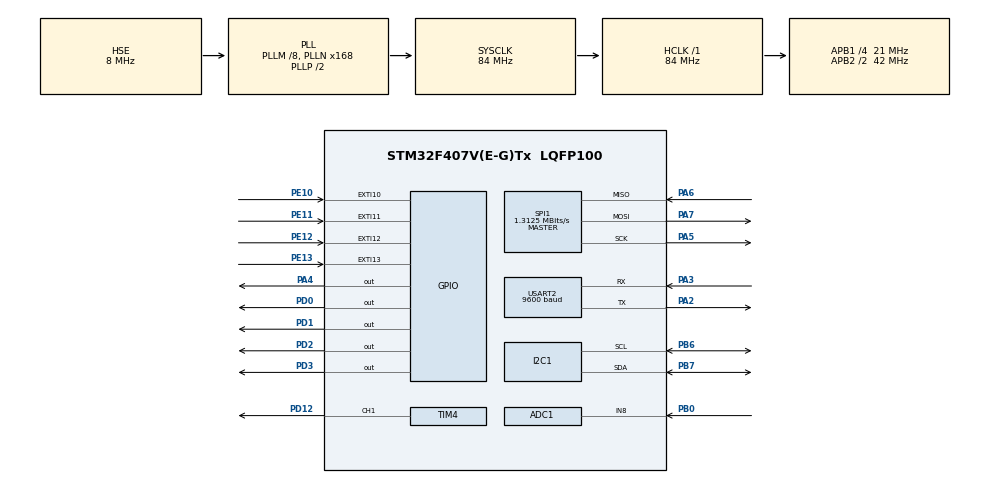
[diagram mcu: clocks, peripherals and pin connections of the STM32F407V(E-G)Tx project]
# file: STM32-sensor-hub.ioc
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ADC1.Channel-0\#ChannelRegularConversion=ADC_CHANNEL_8
ADC1.NbrOfConversionFlag=1
ADC1.master=1
FREERTOS.Mutexes01=xI2CMutex,Dynamic,NULL,Available
FREERTOS.Queues01=dataQueue,10,uint8_t,0,Dynamic,NULL,NULL;printQueue,10,size_t,0,Dynamic,NULL,NULL
FREERTOS.Tasks01=LED_task,24,250,LEDRegulateTask,As weak,NULL,Dynamic,NULL,NULL;light_task,24,250,lightMeasureTask,As external,NULL,Dynamic,NULL,NULL;menu_task,24,250,menuTask,As external,NULL,Dynamic,NULL,NULL;cmd_task,24,250,cmdHandlerTask,As external,NULL,Dynamic,NULL,NULL;print_task,24,250,printTask,As external,NULL,Dynamic,NULL,NULL;temp_task,24,250,temperatureMeasureTask,As external,NULL,Dynamic,NULL,NULL;hum_task,24,250,humidityMeasureTask,As external,NULL,Dynamic,NULL,NULL;pressure_task,24,250,pressureMeasureTask,As external,NULL,Dynamic,NULL,NULL
Mcu.Family=STM32F4
Mcu.Name=STM32F407V(E-G)Tx
Mcu.Package=LQFP100
NVIC.ADC_IRQn=true\:6\:0\:true\:false\:true\:true\:true\:true\:true
NVIC.EXTI15_10_IRQn=true\:6\:0\:true\:false\:true\:true\:true\:true\:true
NVIC.I2C1_EV_IRQn=true\:6\:0\:true\:false\:true\:true\:true\:true\:true
NVIC.PriorityGroup=NVIC_PRIORITYGROUP_4
NVIC.SPI1_IRQn=true\:6\:0\:true\:false\:true\:true\:true\:true\:true
NVIC.TIM6_DAC_IRQn=true\:15\:0\:false\:false\:true\:false\:false\:true\:true
NVIC.TimeBase=TIM6_DAC_IRQn
NVIC.TimeBaseIP=TIM6
NVIC.USART2_IRQn=true\:6\:0\:true\:false\:true\:true\:true\:true\:true
PA13.GPIO_Label=SWDIO
PA13.Mode=Trace_Asynchronous_SW
PA13.Signal=SYS_JTMS-SWDIO
PA14.GPIO_Label=SWCLK
PA14.Mode=Trace_Asynchronous_SW
PA14.Signal=SYS_JTCK-SWCLK
PA2.Mode=Asynchronous
PA2.Signal=USART2_TX
PA3.Mode=Asynchronous
PA3.Signal=USART2_RX
PA4.Signal=GPIO_Output
PA5.Mode=Full_Duplex_Master
PA5.Signal=SPI1_SCK
PA6.Mode=Full_Duplex_Master
PA6.Signal=SPI1_MISO
PA7.Mode=Full_Duplex_Master
PA7.Signal=SPI1_MOSI
PB0.Signal=ADCx_IN8
PB3.Mode=Trace_Asynchronous_SW
PB3.Signal=SYS_JTDO-SWO
PB6.Mode=I2C
PB6.Signal=I2C1_SCL
PB7.Mode=I2C
PB7.Signal=I2C1_SDA
PD0.PinState=GPIO_PIN_SET
PD0.Signal=GPIO_Output
PD1.PinState=GPIO_PIN_SET
PD1.Signal=GPIO_Output
PD12.Signal=S_TIM4_CH1
PD2.PinState=GPIO_PIN_SET
PD2.Signal=GPIO_Output
PD3.PinState=GPIO_PIN_SET
PD3.Signal=GPIO_Output
PE10.GPIO_PuPd=GPIO_PULLDOWN
PE10.Signal=GPXTI10
PE11.GPIO_PuPd=GPIO_PULLDOWN
PE11.Signal=GPXTI11
PE12.GPIO_PuPd=GPIO_PULLDOWN
PE12.Signal=GPXTI12
PE13.GPIO_PuPd=GPIO_PULLDOWN
PE13.Signal=GPXTI13
PH0-OSC_IN.GPIO_Label=PH0-OSC_IN
PH0-OSC_IN.Mode=HSE-External-Oscillator
PH0-OSC_IN.Signal=RCC_OSC_IN
PH1-OSC_OUT.Mode=HSE-External-Oscillator
PH1-OSC_OUT.Signal=RCC_OSC_OUT
ProjectManager.HeapSize=0x200
ProjectManager.StackSize=0x400
ProjectManager.TargetToolchain=STM32CubeIDE
RCC.48MHZClocksFreq_Value=24000000
RCC.AHBFreq_Value=84000000
RCC.APB1CLKDivider=RCC_HCLK_DIV4
RCC.APB1Freq_Value=21000000
RCC.APB1TimFreq_Value=42000000
RCC.APB2CLKDivider=RCC_HCLK_DIV2
RCC.APB2Freq_Value=42000000
RCC.APB2TimFreq_Value=84000000
RCC.CortexFreq_Value=84000000
RCC.HCLKFreq_Value=84000000
RCC.HSE_VALUE=8000000
RCC.HSI_VALUE=16000000
RCC.LSE_VALUE=32768
RCC.PLLM=8
RCC.PLLN=168
RCC.PLLQ=7
RCC.PLLSourceVirtual=RCC_PLLSOURCE_HSE
RCC.SYSCLKFreq_VALUE=84000000
RCC.SYSCLKSource=RCC_SYSCLKSOURCE_PLLCLK
RCC.VCOOutputFreq_Value=168000000
SH.ADCx_IN8.0=ADC1_IN8,IN8
SH.S_TIM4_CH1.0=TIM4_CH1,PWM Generation1 CH1
SPI1.BaudRatePrescaler=SPI_BAUDRATEPRESCALER_32
SPI1.CLKPhase=SPI_PHASE_2EDGE
SPI1.CLKPolarity=SPI_POLARITY_HIGH
SPI1.CalculateBaudRate=1.3125 MBits/s
SPI1.Direction=SPI_DIRECTION_2LINES
SPI1.Mode=SPI_MODE_MASTER
SPI1.VirtualType=VM_MASTER
TIM4.Channel-PWM\ Generation1\ CH1=TIM_CHANNEL_1
USART2.BaudRate=9600
USART2.VirtualMode=VM_ASYNC
VP_FREERTOS_VS_CMSIS_V2.Mode=CMSIS_V2
VP_SYS_VS_tim6.Mode=TIM6
VP_TIM4_VS_ClockSourceINT.Mode=Internal
board=STM32F407G-DISC1

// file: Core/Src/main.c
/* USER CODE BEGIN Header */
/**
  ******************************************************************************
  * @file           : main.c
  * @brief          : Main program body
  ******************************************************************************
  * @attention
  *
  * Copyright (c) 2024 STMicroelectronics.
  * All rights reserved.
  *
  * This software is licensed under terms that can be found in the LICENSE file
  * in the root directory of this software component.
  * If no LICENSE file comes with this software, it is provided AS-IS.
  *
  ******************************************************************************
  */
/* USER CODE END Header */
#include "main.h"
#include "cmsis_os.h"

/* USER CODE BEGIN Includes */
#include <stdio.h>

/* USER CODE END Includes */

ADC_HandleTypeDef hadc1;

I2C_HandleTypeDef hi2c1;

SPI_HandleTypeDef hspi1;

TIM_HandleTypeDef htim4;

UART_HandleTypeDef huart2;

/* Definitions for LED_task */
osThreadId_t LED_taskHandle;
const osThreadAttr_t LED_task_attributes = {
  .name = "LED_task",
  .stack_size = 250 * 4,
  .priority = (osPriority_t) osPriorityNormal,
};
/* Definitions for light_task */
osThreadId_t light_taskHandle;
const osThreadAttr_t light_task_attributes = {
  .name = "light_task",
  .stack_size = 250 * 4,
  .priority = (osPriority_t) osPriorityNormal,
};
/* Definitions for menu_task */
osThreadId_t menu_taskHandle;
const osThreadAttr_t menu_task_attributes = {
  .name = "menu_task",
  .stack_size = 250 * 4,
  .priority = (osPriority_t) osPriorityNormal,
};
/* Definitions for cmd_task */
osThreadId_t cmd_taskHandle;
const osThreadAttr_t cmd_task_attributes = {
  .name = "cmd_task",
  .stack_size = 250 * 4,
  .priority = (osPriority_t) osPriorityNormal,
};
/* Definitions for print_task */
osThreadId_t print_taskHandle;
const osThreadAttr_t print_task_attributes = {
  .name = "print_task",
  .stack_size = 250 * 4,
  .priority = (osPriority_t) osPriorityNormal,
};
/* Definitions for temp_task */
osThreadId_t temp_taskHandle;
const osThreadAttr_t temp_task_attributes = {
  .name = "temp_task",
  .stack_size = 250 * 4,
  .priority = (osPriority_t) osPriorityNormal,
};
/* Definitions for hum_task */
osThreadId_t hum_taskHandle;
const osThreadAttr_t hum_task_attributes = {
  .name = "hum_task",
  .stack_size = 250 * 4,
  .priority = (osPriority_t) osPriorityNormal,
};
/* Definitions for pressure_task */
osThreadId_t pressure_taskHandle;
const osThreadAttr_t pressure_task_attributes = {
  .name = "pressure_task",
  .stack_size = 250 * 4,
  .priority = (osPriority_t) osPriorityNormal,
};
/* Definitions for dataQueue */
osMessageQueueId_t dataQueueHandle;
const osMessageQueueAttr_t dataQueue_attributes = {
  .name = "dataQueue"
};
/* Definitions for printQueue */
osMessageQueueId_t printQueueHandle;
const osMessageQueueAttr_t printQueue_attributes = {
  .name = "printQueue"
};
/* Definitions for xI2CMutex */
osMutexId_t xI2CMutexHandle;
const osMutexAttr_t xI2CMutex_attributes = {
  .name = "xI2CMutex"
};
/* USER CODE BEGIN PV */
volatile uint8_t user_data = 0;

/* Keypad handling */
uint8_t keypad[4][4] = {
        {'1', '2', '3', 'A'},
        {'4', '5', '6', 'B'},
        {'7', '8', '9', 'C'},
        {'*', '0', '#', 'D'}
};
uint32_t previousMillis = 0;
uint32_t currentMillis = 0;

/* USER CODE END PV */

void SystemClock_Config(void);
static void MX_GPIO_Init(void);
static void MX_TIM4_Init(void);
static void MX_ADC1_Init(void);
static void MX_USART2_UART_Init(void);
static void MX_I2C1_Init(void);
static void MX_SPI1_Init(void);
void LEDRegulateTask(void *argument);
extern void lightMeasureTask(void *argument);
extern void menuTask(void *argument);
extern void cmdHandlerTask(void *argument);
extern void printTask(void *argument);
extern void temperatureMeasureTask(void *argument);
extern void humidityMeasureTask(void *argument);
extern void pressureMeasureTask(void *argument);

/* USER CODE BEGIN PFP */
extern void pressureSensorInit();
static void process_user_input(volatile uint8_t *inputCommand);

/* USER CODE END PFP */

int main(void)
{

  /* MCU Configuration--------------------------------------------------------*/

  /* Reset of all peripherals, Initializes the Flash interface and the Systick. */
  HAL_Init();

  /* Configure the system clock */
  SystemClock_Config();

  /* Initialize all configured peripherals */
  MX_GPIO_Init();
  MX_TIM4_Init();
  MX_ADC1_Init();
  MX_USART2_UART_Init();
  MX_I2C1_Init();
  MX_SPI1_Init();
  /* USER CODE BEGIN 2 */

  /* Load Pressure Sensor calibration params, set configs */
  pressureSensorInit();

  /* Enable UART receiving for input commands */
  HAL_UART_Receive_IT(&huart2, (uint8_t*)&user_data, 1);

  /* Init LCD display for output messages */
  I2C_LCD_Init(MyI2C_LCD);

  /* USER CODE END 2 */

  /* Init scheduler */
  osKernelInitialize();
  /* Create the mutex(es) */
  /* creation of xI2CMutex */
  xI2CMutexHandle = osMutexNew(&xI2CMutex_attributes);

  /* Create the queue(s) */
  /* creation of dataQueue */
  dataQueueHandle = osMessageQueueNew (10, sizeof(uint8_t), &dataQueue_attributes);

  /* creation of printQueue */
  printQueueHandle = osMessageQueueNew (10, sizeof(size_t), &printQueue_attributes);

  /* Create the thread(s) */
  /* creation of LED_task */
  LED_taskHandle = osThreadNew(LEDRegulateTask, NULL, &LED_task_attributes);

  /* creation of light_task */
  light_taskHandle = osThreadNew(lightMeasureTask, NULL, &light_task_attributes);

  /* creation of menu_task */
  menu_taskHandle = osThreadNew(menuTask, NULL, &menu_task_attributes);

  /* creation of cmd_task */
  cmd_taskHandle = osThreadNew(cmdHandlerTask, NULL, &cmd_task_attributes);

  /* creation of print_task */
  print_taskHandle = osThreadNew(printTask, NULL, &print_task_attributes);

  /* creation of temp_task */
  temp_taskHandle = osThreadNew(temperatureMeasureTask, NULL, &temp_task_attributes);

  /* creation of hum_task */
//  hum_taskHandle = osThreadNew(humidityMeasureTask, NULL, &hum_task_attributes);

  /* creation of pressure_task */
  pressure_taskHandle = osThreadNew(pressureMeasureTask, NULL, &pressure_task_attributes);

  /* Start scheduler */
  osKernelStart();

  /* We should never get here as control is now taken by the scheduler */

  /* Infinite loop */
  while (1)
  {

  }
}

void SystemClock_Config(void)
{
  RCC_OscInitTypeDef RCC_OscInitStruct = {0};
  RCC_ClkInitTypeDef RCC_ClkInitStruct = {0};

  /** Configure the main internal regulator output voltage
  */
  __HAL_RCC_PWR_CLK_ENABLE();
  __HAL_PWR_VOLTAGESCALING_CONFIG(PWR_REGULATOR_VOLTAGE_SCALE1);

  /** Initializes the RCC Oscillators according to the specified parameters
  * in the RCC_OscInitTypeDef structure.
  */
  RCC_OscInitStruct.OscillatorType = RCC_OSCILLATORTYPE_HSE;
  RCC_OscInitStruct.HSEState = RCC_HSE_ON;
  RCC_OscInitStruct.PLL.PLLState = RCC_PLL_ON;
  RCC_OscInitStruct.PLL.PLLSource = RCC_PLLSOURCE_HSE;
  RCC_OscInitStruct.PLL.PLLM = 8;
  RCC_OscInitStruct.PLL.PLLN = 168;
  RCC_OscInitStruct.PLL.PLLP = RCC_PLLP_DIV2;
  RCC_OscInitStruct.PLL.PLLQ = 7;
  if (HAL_RCC_OscConfig(&RCC_OscInitStruct) != HAL_OK)
  {
    Error_Handler();
  }

  /** Initializes the CPU, AHB and APB buses clocks
  */
  RCC_ClkInitStruct.ClockType = RCC_CLOCKTYPE_HCLK|RCC_CLOCKTYPE_SYSCLK
                              |RCC_CLOCKTYPE_PCLK1|RCC_CLOCKTYPE_PCLK2;
  RCC_ClkInitStruct.SYSCLKSource = RCC_SYSCLKSOURCE_PLLCLK;
  RCC_ClkInitStruct.AHBCLKDivider = RCC_SYSCLK_DIV1;
  RCC_ClkInitStruct.APB1CLKDivider = RCC_HCLK_DIV4;
  RCC_ClkInitStruct.APB2CLKDivider = RCC_HCLK_DIV2;

  if (HAL_RCC_ClockConfig(&RCC_ClkInitStruct, FLASH_LATENCY_2) != HAL_OK)
  {
    Error_Handler();
  }
}

static void MX_ADC1_Init(void)
{

  ADC_ChannelConfTypeDef sConfig = {0};

  /** Configure the global features of the ADC (Clock, Resolution, Data Alignment and number of conversion)
  */
  hadc1.Instance = ADC1;
  hadc1.Init.ClockPrescaler = ADC_CLOCK_SYNC_PCLK_DIV2;
  hadc1.Init.Resolution = ADC_RESOLUTION_12B;
  hadc1.Init.ScanConvMode = DISABLE;
  hadc1.Init.ContinuousConvMode = DISABLE;
  hadc1.Init.DiscontinuousConvMode = DISABLE;
  hadc1.Init.ExternalTrigConvEdge = ADC_EXTERNALTRIGCONVEDGE_NONE;
  hadc1.Init.ExternalTrigConv = ADC_SOFTWARE_START;
  hadc1.Init.DataAlign = ADC_DATAALIGN_RIGHT;
  hadc1.Init.NbrOfConversion = 1;
  hadc1.Init.DMAContinuousRequests = DISABLE;
  hadc1.Init.EOCSelection = ADC_EOC_SINGLE_CONV;
  if (HAL_ADC_Init(&hadc1) != HAL_OK)
  {
    Error_Handler();
  }

  /** Configure for the selected ADC regular channel its corresponding rank in the sequencer and its sample time.
  */
  sConfig.Channel = ADC_CHANNEL_8;
  sConfig.Rank = 1;
  sConfig.SamplingTime = ADC_SAMPLETIME_3CYCLES;
  if (HAL_ADC_ConfigChannel(&hadc1, &sConfig) != HAL_OK)
  {
    Error_Handler();
  }

}

static void MX_I2C1_Init(void)
{

  hi2c1.Instance = I2C1;
  hi2c1.Init.ClockSpeed = 100000;
  hi2c1.Init.DutyCycle = I2C_DUTYCYCLE_2;
  hi2c1.Init.OwnAddress1 = 0;
  hi2c1.Init.AddressingMode = I2C_ADDRESSINGMODE_7BIT;
  hi2c1.Init.DualAddressMode = I2C_DUALADDRESS_DISABLE;
  hi2c1.Init.OwnAddress2 = 0;
  hi2c1.Init.GeneralCallMode = I2C_GENERALCALL_DISABLE;
  hi2c1.Init.NoStretchMode = I2C_NOSTRETCH_DISABLE;
  if (HAL_I2C_Init(&hi2c1) != HAL_OK)
  {
    Error_Handler();
  }

}

static void MX_SPI1_Init(void)
{

  /* SPI1 parameter configuration*/
  hspi1.Instance = SPI1;
  hspi1.Init.Mode = SPI_MODE_MASTER;
  hspi1.Init.Direction = SPI_DIRECTION_2LINES;
  hspi1.Init.DataSize = SPI_DATASIZE_8BIT;
  hspi1.Init.CLKPolarity = SPI_POLARITY_HIGH;
  hspi1.Init.CLKPhase = SPI_PHASE_2EDGE;
  hspi1.Init.NSS = SPI_NSS_SOFT;
  hspi1.Init.BaudRatePrescaler = SPI_BAUDRATEPRESCALER_32;
  hspi1.Init.FirstBit = SPI_FIRSTBIT_MSB;
  hspi1.Init.TIMode = SPI_TIMODE_DISABLE;
  hspi1.Init.CRCCalculation = SPI_CRCCALCULATION_DISABLE;
  hspi1.Init.CRCPolynomial = 10;
  if (HAL_SPI_Init(&hspi1) != HAL_OK)
  {
    Error_Handler();
  }

}

static void MX_TIM4_Init(void)
{

  TIM_ClockConfigTypeDef sClockSourceConfig = {0};
  TIM_MasterConfigTypeDef sMasterConfig = {0};
  TIM_OC_InitTypeDef sConfigOC = {0};

  htim4.Instance = TIM4;
  htim4.Init.Prescaler = 0;
  htim4.Init.CounterMode = TIM_COUNTERMODE_UP;
  htim4.Init.Period = 65535;
  htim4.Init.ClockDivision = TIM_CLOCKDIVISION_DIV1;
  htim4.Init.AutoReloadPreload = TIM_AUTORELOAD_PRELOAD_DISABLE;
  if (HAL_TIM_Base_Init(&htim4) != HAL_OK)
  {
    Error_Handler();
  }
  sClockSourceConfig.ClockSource = TIM_CLOCKSOURCE_INTERNAL;
  if (HAL_TIM_ConfigClockSource(&htim4, &sClockSourceConfig) != HAL_OK)
  {
    Error_Handler();
  }
  if (HAL_TIM_PWM_Init(&htim4) != HAL_OK)
  {
    Error_Handler();
  }
  sMasterConfig.MasterOutputTrigger = TIM_TRGO_RESET;
  sMasterConfig.MasterSlaveMode = TIM_MASTERSLAVEMODE_DISABLE;
  if (HAL_TIMEx_MasterConfigSynchronization(&htim4, &sMasterConfig) != HAL_OK)
  {
    Error_Handler();
  }
  sConfigOC.OCMode = TIM_OCMODE_PWM1;
  sConfigOC.Pulse = 0;
  sConfigOC.OCPolarity = TIM_OCPOLARITY_HIGH;
  sConfigOC.OCFastMode = TIM_OCFAST_DISABLE;
  if (HAL_TIM_PWM_ConfigChannel(&htim4, &sConfigOC, TIM_CHANNEL_1) != HAL_OK)
  {
    Error_Handler();
  }
  HAL_TIM_MspPostInit(&htim4);

}

static void MX_USART2_UART_Init(void)
{

  huart2.Instance = USART2;
  huart2.Init.BaudRate = 9600;
  huart2.Init.WordLength = UART_WORDLENGTH_8B;
  huart2.Init.StopBits = UART_STOPBITS_1;
  huart2.Init.Parity = UART_PARITY_NONE;
  huart2.Init.Mode = UART_MODE_TX_RX;
  huart2.Init.HwFlowCtl = UART_HWCONTROL_NONE;
  huart2.Init.OverSampling = UART_OVERSAMPLING_16;
  if (HAL_UART_Init(&huart2) != HAL_OK)
  {
    Error_Handler();
  }

}

static void MX_GPIO_Init(void)
{
  GPIO_InitTypeDef GPIO_InitStruct = {0};

  /* GPIO Ports Clock Enable */
  __HAL_RCC_GPIOH_CLK_ENABLE();
  __HAL_RCC_GPIOA_CLK_ENABLE();
  __HAL_RCC_GPIOB_CLK_ENABLE();
  __HAL_RCC_GPIOE_CLK_ENABLE();
  __HAL_RCC_GPIOD_CLK_ENABLE();

  /*Configure GPIO pin Output Level */
  HAL_GPIO_WritePin(GPIOA, GPIO_PIN_4, GPIO_PIN_RESET);

  /*Configure GPIO pin Output Level */
  HAL_GPIO_WritePin(GPIOD, GPIO_PIN_0|GPIO_PIN_1|GPIO_PIN_2|GPIO_PIN_3, GPIO_PIN_SET);

  /*Configure GPIO pin : PA4 */
  GPIO_InitStruct.Pin = GPIO_PIN_4;
  GPIO_InitStruct.Mode = GPIO_MODE_OUTPUT_PP;
  GPIO_InitStruct.Pull = GPIO_NOPULL;
  GPIO_InitStruct.Speed = GPIO_SPEED_FREQ_LOW;
  HAL_GPIO_Init(GPIOA, &GPIO_InitStruct);

  /*Configure GPIO pins : PE10 PE11 PE12 PE13 */
  GPIO_InitStruct.Pin = GPIO_PIN_10|GPIO_PIN_11|GPIO_PIN_12|GPIO_PIN_13;
  GPIO_InitStruct.Mode = GPIO_MODE_IT_RISING;
  GPIO_InitStruct.Pull = GPIO_PULLDOWN;
  HAL_GPIO_Init(GPIOE, &GPIO_InitStruct);

  /*Configure GPIO pins : PD0 PD1 PD2 PD3 */
  GPIO_InitStruct.Pin = GPIO_PIN_0|GPIO_PIN_1|GPIO_PIN_2|GPIO_PIN_3;
  GPIO_InitStruct.Mode = GPIO_MODE_OUTPUT_PP;
  GPIO_InitStruct.Pull = GPIO_NOPULL;
  GPIO_InitStruct.Speed = GPIO_SPEED_FREQ_LOW;
  HAL_GPIO_Init(GPIOD, &GPIO_InitStruct);

  /* EXTI interrupt init*/
  HAL_NVIC_SetPriority(EXTI15_10_IRQn, 6, 0);
  HAL_NVIC_EnableIRQ(EXTI15_10_IRQn);

}

/* USER CODE BEGIN 4 */
void HAL_UART_RxCpltCallback(UART_HandleTypeDef *huart)
{
	process_user_input(&user_data);

	/* Enable UART data byte reception again in IT mode */
	HAL_UART_Receive_IT(&huart2, (void*)&user_data, 1);
}

static void process_user_input(volatile uint8_t *inputCommand)
{
	uint8_t to_remove;

	if(osMessageQueueGetSpace(dataQueueHandle) != 0) {
		/*Queue is not full, Enqueue data byte */
		osMessageQueuePut(dataQueueHandle, (void*)inputCommand, 0U, 0U);
	} else {

		if(*inputCommand == '\n') {

			/* make sure that last data byte of the queue is '\n' */
			osMessageQueueGet(dataQueueHandle, (void*)&to_remove, 0U, 0U);
			osMessageQueuePut(dataQueueHandle, (void*)inputCommand, 0U, 0U);
		}
	}

	/* send notification to command handling task if user_data = '\n' */
	if (*inputCommand == '\n') {
		osThreadFlagsSet(cmd_taskHandle, 1);
	}
}

void HAL_ADC_ConvCpltCallback(ADC_HandleTypeDef *hadc)
{
	if (hadc->Instance == ADC1) {
		// notify lightMeasurementTask that ADC conversion was completed successfully
		osThreadFlagsSet(light_taskHandle, 2);
	}
}

void HAL_I2C_MasterTxCpltCallback(I2C_HandleTypeDef *hi2c)
{
	if (hi2c->Instance == I2C1) {
		osThreadFlagsSet(temp_taskHandle, 2);
	}
}

void HAL_I2C_MasterRxCpltCallback(I2C_HandleTypeDef *hi2c)
{
	if (hi2c->Instance == I2C1) {
		osThreadFlagsSet(temp_taskHandle, 4);
	}
}

void HAL_I2C_ErrorCallback(I2C_HandleTypeDef *hi2c)
{
	if (hi2c->Instance == I2C1) {

		// TODO: Get from global app state where send this notification
//		osThreadFlagsSet(temp_taskHandle, 6);
	}
}

/* 	SPI Callback Start  */
void HAL_SPI_TxRxCpltCallback(SPI_HandleTypeDef * hspi)
{
	if (hspi->Instance == SPI1)
	{
		osThreadFlagsSet(pressure_taskHandle, 2);
	}
}

void HAL_SPI_ErrorCallback(SPI_HandleTypeDef *hspi)
{
	if (hspi->Instance == SPI1)
	{
		// TODO: implement error handler
	}
}
/* 	SPI Callback End  */

/* Keypad handling */
void HAL_GPIO_EXTI_Callback(uint16_t GPIO_Pin)
{
	uint8_t col;
	uint8_t key = 0xFF;
	uint8_t newline = '\n';
	currentMillis = HAL_GetTick();
	if (currentMillis - previousMillis > 50 && GPIO_Pin >= GPIO_PIN_10 && GPIO_Pin <= GPIO_PIN_13)
	{
		for (int row = 0; row < 4; row++)
		{
			HAL_GPIO_WritePin(GPIOD, (GPIO_PIN_0 << row), GPIO_PIN_RESET);
	        if (HAL_GPIO_ReadPin(GPIOE, GPIO_Pin) == GPIO_PIN_RESET)
	        {
	        	col = (GPIO_Pin == GPIO_PIN_10) ? 0 : (GPIO_Pin == GPIO_PIN_11) ? 1 : (GPIO_Pin == GPIO_PIN_12) ? 2 : 3;
	        	key = keypad[row][col];
	        }
			HAL_GPIO_WritePin(GPIOD, (GPIO_PIN_0 << row), GPIO_PIN_SET);
		}
		if (key != 0xFF)
		{
			process_user_input(&key);
			process_user_input(&newline);
		}
		previousMillis = currentMillis;
	}
}

/* USER CODE END 4 */

__weak void LEDRegulateTask(void *argument)
{
  for(;;)
  {
    osDelay(1);
  }
}

void HAL_TIM_PeriodElapsedCallback(TIM_HandleTypeDef *htim)
{
  if (htim->Instance == TIM6) {
    HAL_IncTick();
  }
}

void Error_Handler(void)
{
  __disable_irq();
  while (1)
  {
  }
}
